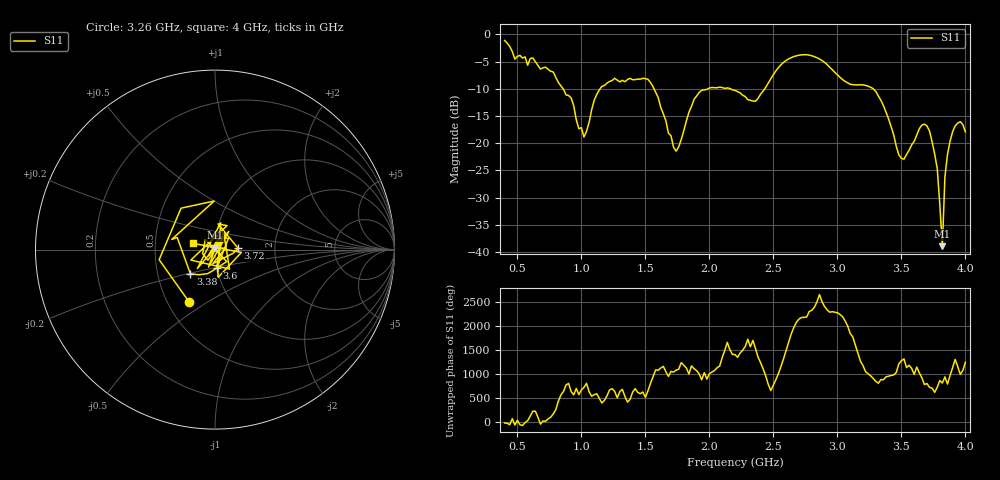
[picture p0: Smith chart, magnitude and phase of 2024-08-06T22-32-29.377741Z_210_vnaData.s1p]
!Created with skrf (http://scikit-rf.org).
# Hz S RI R 50.0
!freq ReS11 ImS11
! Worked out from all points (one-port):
!   181 points, 400 MHz to 4 GHz, reference 50 ohm
!   lowest |S11| = -38.9 dB at 3.82 GHz (marker M1), VSWR 1.02, Z = 49.9 + j1.13 ohm
!   |S11| at or under -10 dB: 857.3 MHz to 1.146 GHz (289 MHz wide, 28.8 % of centre); 1.567 GHz to 1.99 GHz (422.7 MHz wide, 23.8 % of centre); 3.28 GHz to end of sweep (the widest 3 of 4)
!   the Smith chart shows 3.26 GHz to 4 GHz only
!   S11 on the Smith chart (normalised r, x): 3.26 GHz: 0.64, -0.42; 3.38 GHz: 0.73, -0.21; 3.6 GHz: 1.00, -0.21; 3.72 GHz: 1.29, +0.02; 4 GHz: 0.78, +0.05
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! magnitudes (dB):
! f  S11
! 400 MHz  -1.1
! 480 MHz  -4.6
! 620 MHz  -4.3
! 860 MHz  -10.1
! 1.02 GHz  -18.9
! 1.14 GHz  -10.2
! 1.3 GHz  -8.7
! 1.52 GHz  -8.3
! 1.72 GHz  -20.8
! 1.76 GHz  -20.7
! 1.92 GHz  -10.7
! 2.2 GHz  -10.3
! 2.36 GHz  -12.3
! 2.66 GHz  -4.1
! 3.1 GHz  -9.2
! 3.26 GHz  -9.7
! 3.38 GHz  -14.3
! 3.48 GHz  -22.1
! 3.56 GHz  -21.3
! 3.6 GHz  -19.7
! 3.66 GHz  -16.7
! 3.72 GHz  -17.8
! 3.78 GHz  -24.7
! 3.82 GHz  -38.9
! 3.84 GHz  -26.2
! 3.88 GHz  -19.7
! 3.94 GHz  -16.3
! 4 GHz  -17.9
